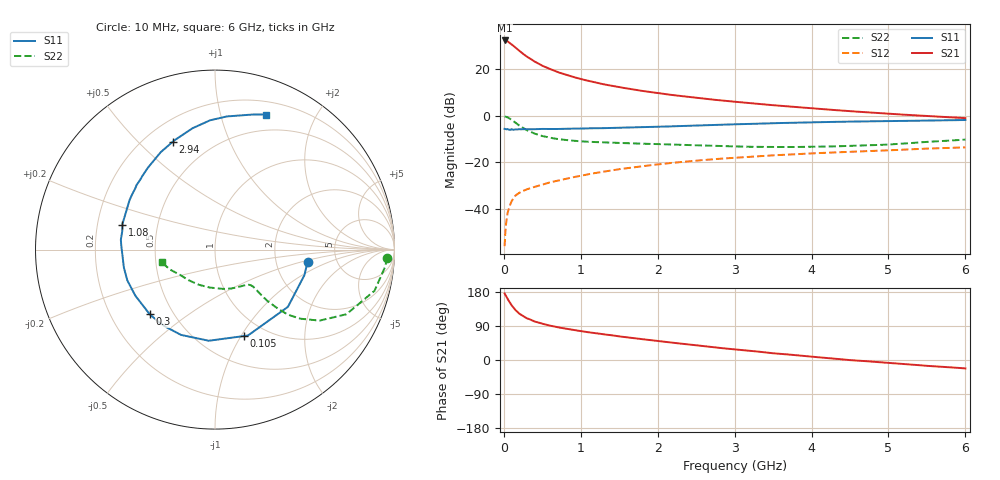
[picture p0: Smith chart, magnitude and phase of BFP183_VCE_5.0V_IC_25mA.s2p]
! Infineon Technologies  Discrete & RF Semiconductors
! BFP183
! VCE = 5.0 V,  IC =  25 mA
! Common Emitter S-Parameters:  Jan 2016
# GHz  S  MA  R  50
!  f  S11  S21  S12  S22
! GHz  MAG  ANG  MAG  ANG  MAG  ANG  MAG  ANG
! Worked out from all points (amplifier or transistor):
!   210 points, 10 MHz to 6 GHz, reference 50 ohm
!   highest |S21| = 32.2 dB at 10 MHz (marker M1)
!   |S21| within 3 dB of that: start of sweep to 150.9 MHz
!   unconditionally stable (mu >= 1): 777.8 MHz to 5.726 GHz
!   at 185 MHz: K = 0.41, MSG = 30.8 dB, |S12| = -33.4 dB
!   at 1.52 GHz: K = 1.13, MAG = 15.2 dB, |S12| = -22.9 dB
!   at 6 GHz: K = 0.97, MSG = 6.3 dB, |S12| = -13.6 dB
!   S11 on the Smith chart (normalised r, x): 10 MHz: 3.06, -0.56; 105 MHz: 0.79, -1.03; 300 MHz: 0.37, -0.36; 1.08 GHz: 0.31, +0.12; 2.94 GHz: 0.31, +0.64; 6 GHz: 0.33, +1.39
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0.01  0.5206 -7.4  40.6 175.6  0.0016 87.0  0.9612 -2.7
0.02  0.5181 -16.0  40.47 172.1  0.0033 76.2  0.9525 -5.8
0.05  0.5165 -38.1  38.79 160.4  0.0084 79.0  0.9179 -14.5
0.1  0.5127 -69.0  33.71 144.3  0.0146 64.7  0.8158 -26.2
0.105  0.5081 -71.4  33.16 143.2  0.0151 63.7  0.8041 -26.9
0.15  0.509 -93.9  28.82 131.7  0.0193 57.1  0.7053 -34.1
0.2  0.5116 -111.7  24.5 122.4  0.0222 53.9  0.6136 -38.9
0.24  0.5103 -122.4  21.64 116.9  0.024 51.5  0.5568 -41.2
0.3  0.5119 -135.3  18.28 110.0  0.0264 50.4  0.486 -43.1
0.4  0.5127 -149.9  14.35 101.5  0.0297 50.3  0.4113 -44.4
0.5  0.5178 -160.6  11.68 95.6  0.0333 50.6  0.3647 -44.5
0.6  0.5175 -168.7  9.941 90.6  0.0372 52.1  0.3351 -44.3
0.7  0.5166 -175.8  8.51 86.4  0.0402 53.8  0.3143 -44.1
1.02  0.5284 167.7  5.945 75.6  0.052 54.7  0.2799 -45.0
1.08  0.5333 165.3  5.636 73.8  0.0547 54.9  0.2762 -45.5
1.5  0.5499 150.1  4.06 62.3  0.0712 53.9  0.2593 -49.9
2.02  0.5771 134.1  2.989 49.8  0.0908 50.5  0.2451 -58.9
2.94  0.6457 111.2  2.024 29.2  0.1232 42.7  0.2202 -81.4
3.1  0.6564 108.0  1.914 26.1  0.1282 41.2  0.2165 -86.0
4.1  0.7246 90.7  1.392 7.0  0.1578 32.2  0.216 -117.8
5.1  0.7653 78.2  1.07 -9.0  0.1833 24.4  0.2457 -146.6
6  0.804 69.4  0.883 -22.2  0.2086 16.1  0.3061 -166.6
